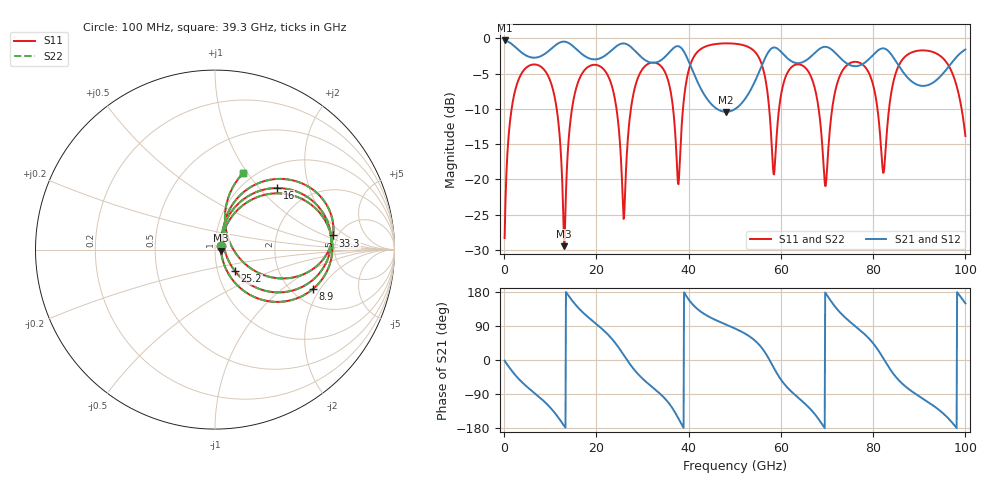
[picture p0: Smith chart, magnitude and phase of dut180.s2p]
! Touchstone file exported from HFSS 2026.1.0
!  File:  C:/ffzhzh/LocalFiles/Ansys_Project_Files/temp_test_TSV_RDL_180_1783476023_48356.aedt
!  Generated:  10:28:45 AM Jul  8, 2026
!  Design:  TSV_RDL
!  Project:  temp_test_TSV_RDL_180_1783476023_48356
! Variables:
!  h_bsmrdl = 3.52um
!  h_ox = 20um
!  h_rdl = 5um
!  h_sub = 66.41um
!  h_tmrdl = 2.89um
!  h_tsv = 66.41um
!  h_via = 3um
!  l_bsmrdl = 508.25um
!  l_sub = 4571.48um
!  l_tmrdl = 634um
!  m_sub = 200um
!  pitch = 56.3um
!  r_tsv = 6.58um
!  s_tmrdl = 10um
!  w_bsmrdl = 24.11um
!  w_sub = 500um
!  w_tmrdl = 12.8um
!  x_tsv_center1 = 640.4um
!  x_tsv_center2 = 1172.76um
!  x_tsv_center3 = 1819.56um
!  x_tsv_center4 = 2351.92um
!  x_tsv_center5 = 2998.72um
!  x_tsv_center6 = 3531.08um
# GHz S MA R 50.000000
! Terminal data exported
! Port[1] = TM_RDL1_1_T1
! Port[2] = TM_RDL5_1_T1
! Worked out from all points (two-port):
!   1000 points, 100 MHz to 100 GHz, reference 50 ohm
!   highest |S21| = -0.28 dB at 100 MHz (marker M1); lowest = -10.4 dB at 48.1 GHz (marker M2)
!   |S21| within 3 dB of the highest: start of sweep to 31.15 GHz; 65 GHz to 73.75 GHz (8.748 GHz wide, 12.6 % of centre) (the widest 2 of 6)
!   lowest |S11| = -29.5 dB at 13 GHz (marker M3), VSWR 1.07, Z = 53.4 - j0.564 ohm
!   |S11| at or under -10 dB: 11.39 GHz to 14.7 GHz (3.307 GHz wide, 25.3 % of centre); 24.36 GHz to 27.48 GHz (3.112 GHz wide, 12 % of centre); 68.19 GHz to 71.11 GHz (2.921 GHz wide, 4.19 % of centre) (the widest 3 of 8)
!   |S22| runs from -29.5 to -0.7 dB; largest |S21 - S12| = 2.1e-13
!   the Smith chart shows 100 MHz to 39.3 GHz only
!   S11 on the Smith chart (normalised r, x): 100 MHz: 1.07, +0.04; 8.9 GHz: 2.56, -1.72; 16 GHz: 1.40, +1.26; 25.2 GHz: 1.21, -0.30; 33.3 GHz: 4.56, +1.28; 39.3 GHz: 0.89, +0.95
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0.1  0.03842 33.2  0.9683 -1.8  0.9683 -1.8  0.03842 33.2
! Gamma 0 0 0 0
! Port Impedance 50 0 50 0
2.6  0.4545 43.5  0.8584 -42.4  0.8584 -42.4  0.4545 43.5
8.9  0.5877 -22.0  0.7812 -111.9  0.7812 -111.9  0.5877 -22.0
13  0.03366 -9.0  0.9499 -173.5  0.9499 -173.5  0.03346 -9.1
16  0.4868 44.8  0.8203 138.7  0.8203 138.7  0.4868 44.8
16.8  0.5569 35.6  0.7787 128.6  0.7787 128.6  0.5569 35.6
25.2  0.164 -47.1  0.9141 26.2  0.9141 26.2  0.164 -47.0
33.3  0.663 6.8  0.6816 -83.6  0.6816 -83.6  0.6629 6.8
33.4  0.6602 5.9  0.6837 -84.7  0.6837 -84.7  0.6602 5.9
37.7  0.09334 14.0  0.882 -152.4  0.882 -152.4  0.09277 14.0
39.3  0.4515 70.0  0.7721 172.6  0.7721 172.6  0.4515 70.0
48.1  0.9236 2.8  0.3019 93.5  0.3019 93.5  0.9237 2.8
50.1  0.9176 -6.7  0.3167 82.8  0.3167 82.8  0.9176 -6.7
58.1  0.1548 -57.0  0.8557 -12.5  0.8557 -12.5  0.1556 -56.7
66.7  0.5198 -38.1  0.7544 -133.6  0.7544 -133.6  0.5198 -38.1
69.7  0.08994 2.5  0.8731 176.4  0.8731 176.4  0.09041 2.4
73.9  0.6262 18.6  0.6793 112.4  0.6793 112.4  0.6263 18.5
79.8  0.4938 -35.0  0.7532 47.0  0.7532 47.0  0.4939 -35.0
82.1  0.1156 -11.2  0.8511 6.5  0.8511 6.5  0.1162 -11.2
83.4  0.3081 49.7  0.8082 -19.1  0.8082 -19.1  0.3083 49.6
90.4  0.8232 -9.4  0.4619 -99.0  0.4619 -99.0  0.8232 -9.5
100  0.2035 -96.8  0.8354 149.5  0.8354 149.5  0.2032 -97.1
